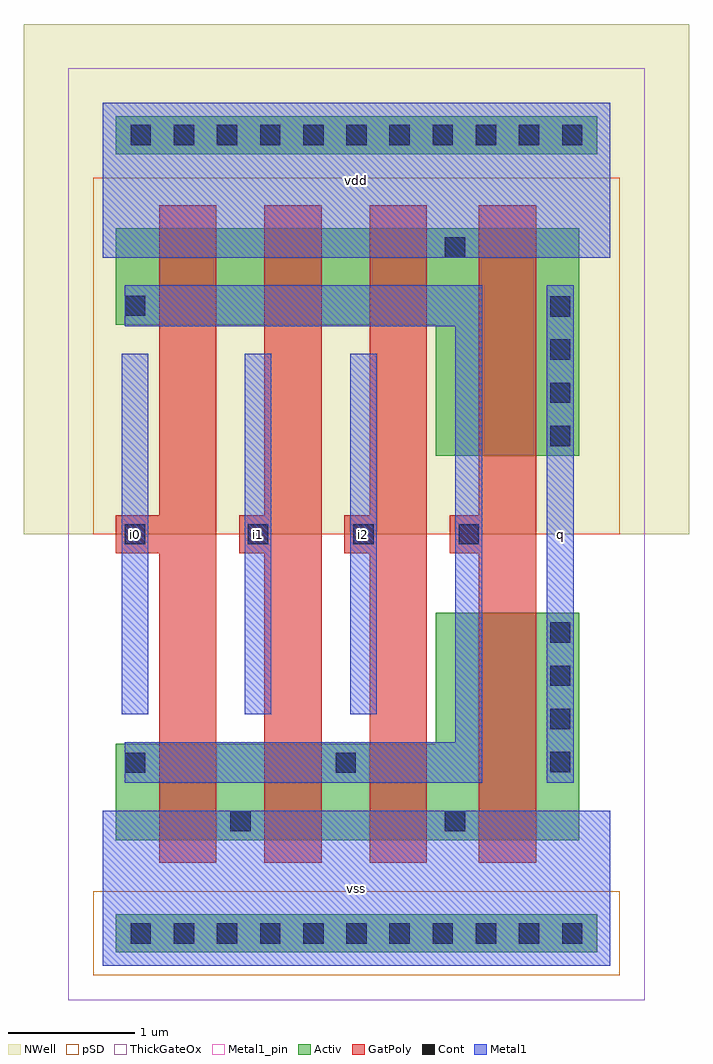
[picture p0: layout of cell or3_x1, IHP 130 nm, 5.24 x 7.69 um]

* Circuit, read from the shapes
.subckt or3_x1 i0 i1 i2 q vdd vss
XM1 vss i0 n1 vss sg13_hv_nmos w=0.76u l=0.45u
XM2 n1 i1 vss vss sg13_hv_nmos w=0.76u l=0.45u
XM3 vss i2 n1 vss sg13_hv_nmos w=0.76u l=0.45u
XM4 q n1 vss vss sg13_hv_nmos w=1.79u l=0.45u
XM5 n2 i0 n1 vdd sg13_hv_pmos w=0.76u l=0.45u
XM6 n3 i1 n2 vdd sg13_hv_pmos w=0.76u l=0.45u
XM7 vdd i2 n3 vdd sg13_hv_pmos w=0.76u l=0.45u
XM8 q n1 vdd vdd sg13_hv_pmos w=1.79u l=0.45u
.ends

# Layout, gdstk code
import gdstk
lib = gdstk.Library(unit=1e-6, precision=1e-09)
def R(c, l, rs):  # rectangles x0, y0, x1, y1
    for r in rs: c.add(gdstk.rectangle(r[:2], r[2:], *l))
def A(c, l, x, y, w, h, nx, ny, dx, dy):  # array of equal rectangles
    R(c, l, [(x+i*dx, y+j*dy, x+i*dx+w, y+j*dy+h) for i in range(nx) for j in range(ny)])
def P(c, l, *ps):  # polygons
    for p in ps: c.add(gdstk.Polygon(p, *l))
Activ = (1, 0)
GatPoly = (5, 0)
Cont = (6, 0)
Metal1 = (8, 0)
Metal1_pin = (8, 2)
pSD = (14, 0)
NWell = (31, 0)
ThickGateOx = (44, 0)

or3_x1 = lib.new_cell('or3_x1')
R(or3_x1, Activ, [(0.105,0.105,3.895,0.405), (0.105,6.395,3.895,6.695)])
P(or3_x1, Activ, [(0.105,0.99),(0.105,1.75),(2.625,1.75),(2.625,2.78),(3.755,2.78),(3.755,0.99)],
  [(2.625,4.02),(2.625,5.05),(0.105,5.05),(0.105,5.81),(3.755,5.81),(3.755,4.02)])
P(or3_x1, GatPoly, [(2.965,0.81),(2.965,3.25),(2.735,3.25),(2.735,3.55),(2.965,3.55),(2.965,5.99),(3.415,5.99),(3.415,0.81)],
  [(0.445,0.81),(0.445,3.25),(0.105,3.25),(0.105,3.55),(0.445,3.55),(0.445,5.99),(0.895,5.99),(0.895,0.81)],
  [(1.275,0.81),(1.275,3.25),(1.075,3.25),(1.075,3.55),(1.275,3.55),(1.275,5.99),(1.725,5.99),(1.725,0.81)],
  [(2.105,0.81),(2.105,3.25),(1.905,3.25),(1.905,3.55),(2.105,3.55),(2.105,5.99),(2.555,5.99),(2.555,0.81)])
A(or3_x1, Cont, 0.22, 0.175, 0.16, 0.16, 11, 2, 0.34, 6.29)
A(or3_x1, Cont, 0.175, 1.52, 0.16, 0.16, 1, 3, 0, 1.8)
A(or3_x1, Cont, 3.525, 1.525, 0.16, 0.16, 1, 4, 0, 0.34)
A(or3_x1, Cont, 1.145, 3.32, 0.16, 0.16, 3, 1, 0.83, 0)
A(or3_x1, Cont, 3.525, 4.095, 0.16, 0.16, 1, 4, 0, 0.34)
R(or3_x1, Cont, [(1.005,1.06,1.165,1.22), (2.695,1.06,2.855,1.22), (1.835,1.52,1.995,1.68), (2.695,5.58,2.855,5.74)])
R(or3_x1, Metal1, [(0,0,4,1.22), (3.5,1.44,3.71,5.36), (0.15,1.98,0.36,4.82), (1.12,1.98,1.33,4.82), (1.95,1.98,2.16,4.82), (0,5.58,4,6.8)])
P(or3_x1, Metal1, [(0.175,1.44),(0.175,1.76),(2.78,1.76),(2.78,5.04),(0.175,5.04),(0.175,5.36),(2.99,5.36),(2.99,1.44)])
R(or3_x1, Metal1_pin, [(0,0,4,1.22), (3.5,1.44,3.71,5.36), (0.15,1.98,0.36,4.82), (1.12,1.98,1.33,4.82), (1.95,1.98,2.16,4.82), (0,5.58,4,6.8)])
R(or3_x1, pSD, [(-0.075,-0.075,4.075,0.585), (-0.075,3.4,4.075,6.21)])
R(or3_x1, NWell, [(-0.62,3.4,4.62,7.42)])
R(or3_x1, ThickGateOx, [(-0.27,-0.27,4.27,7.07)])
or3_x1.add(gdstk.Label('vdd', (2,6.19), layer=8, texttype=2))
or3_x1.add(gdstk.Label('vss', (2,0.61), layer=8, texttype=2))
or3_x1.add(gdstk.Label('i0', (0.255,3.4), layer=8, texttype=2))
or3_x1.add(gdstk.Label('i1', (1.225,3.4), layer=8, texttype=2))
or3_x1.add(gdstk.Label('i2', (2.055,3.4), layer=8, texttype=2))
or3_x1.add(gdstk.Label('q', (3.605,3.4), layer=8, texttype=2))

lib.write_gds('or3_x1.gds')
